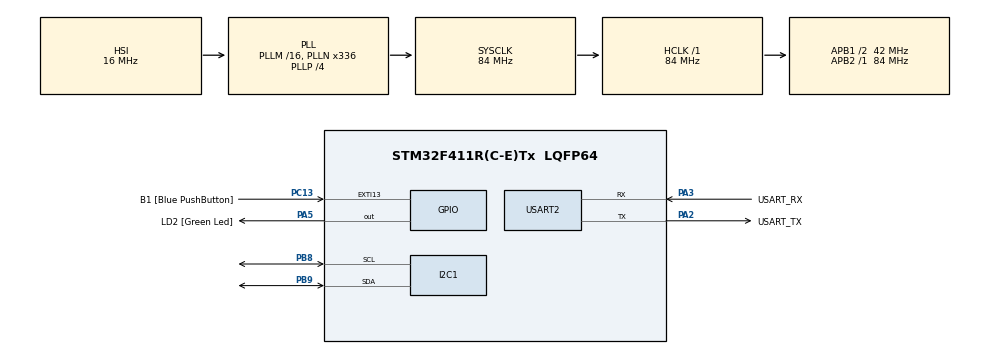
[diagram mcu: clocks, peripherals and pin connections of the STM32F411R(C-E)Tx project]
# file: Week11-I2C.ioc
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Mcu.Family=STM32F4
PC15-OSC32_OUT.Mode=LSE-External-Oscillator
RCC.CortexFreq_Value=84000000
NVIC.I2C1_EV_IRQn=true\:0\:0\:false\:false\:true\:true\:true
PC13-ANTI_TAMP.GPIO_Label=B1 [Blue PushButton]
PA14.GPIO_Label=TCK
PH1\ -\ OSC_OUT.Mode=HSE-External-Clock-Source
RCC.APB1CLKDivider=RCC_HCLK_DIV2
PC14-OSC32_IN.Signal=RCC_OSC32_IN
RCC.SYSCLKSource=RCC_SYSCLKSOURCE_PLLCLK
ProjectManager.StackSize=0x400
PA13.Signal=SYS_JTMS-SWDIO
PA3.Mode=Asynchronous
PH0\ -\ OSC_IN.Mode=HSE-External-Clock-Source
PH0\ -\ OSC_IN.Signal=RCC_OSC_IN
ProjectManager.TargetToolchain=STM32CubeIDE
I2C1.I2C_Mode=I2C_Fast
RCC.HCLKFreq_Value=84000000
PB9.Mode=I2C
RCC.APB2TimFreq_Value=84000000
PC15-OSC32_OUT.Signal=RCC_OSC32_OUT
RCC.AHBFreq_Value=84000000
NVIC.EXTI15_10_IRQn=true\:0\:0\:false\:false\:true\:true\:true
PA5.Signal=GPIO_Output
RCC.HSE_VALUE=8000000
PH1\ -\ OSC_OUT.Signal=RCC_OSC_OUT
board=NUCLEO-F411RE
PC13-ANTI_TAMP.Signal=GPXTI13
RCC.VCOOutputFreq_Value=336000000
RCC.APB2Freq_Value=84000000
PC14-OSC32_IN.Mode=LSE-External-Oscillator
PA14.Mode=Serial_Wire
PA13.Mode=Serial_Wire
NVIC.I2C1_ER_IRQn=true\:0\:0\:false\:false\:true\:true\:true
Mcu.Name=STM32F411R(C-E)Tx
PA2.Signal=USART2_TX
PA13.GPIO_Label=TMS
RCC.FLatency-AdvancedSettings=FLASH_LATENCY_2
RCC.48MHZClocksFreq_Value=84000000
PB3.Signal=SYS_JTDO-SWO
RCC.SYSCLKFreq_VALUE=84000000
Mcu.Package=LQFP64
PB9.Signal=I2C1_SDA
PA5.GPIO_Label=LD2 [Green Led]
USART2.VirtualMode=VM_ASYNC
PC13-ANTI_TAMP.GPIO_ModeDefaultEXTI=GPIO_MODE_IT_FALLING
PA2.GPIO_Label=USART_TX
PA14.Signal=SYS_JTCK-SWCLK
ProjectManager.HeapSize=0x200
RCC.HSI_VALUE=16000000
RCC.PLLP=RCC_PLLP_DIV4
NVIC.PriorityGroup=NVIC_PRIORITYGROUP_0
PB8.Mode=I2C
RCC.PLLN=336
RCC.APB1TimFreq_Value=84000000
PA2.Mode=Asynchronous
PB8.Signal=I2C1_SCL
RCC.APB1Freq_Value=42000000
PA3.GPIO_Label=USART_RX
PA3.Signal=USART2_RX
PB3.GPIO_Label=SWO

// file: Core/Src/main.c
/* USER CODE BEGIN Header */
/**
 ******************************************************************************
 * @file           : main.c
 * @brief          : Main program body
 ******************************************************************************
 * @attention
 *
 * <h2><center>&copy; Copyright (c) 2021 STMicroelectronics.
 * All rights reserved.</center></h2>
 *
 * This software component is licensed by ST under BSD 3-Clause license,
 * the "License"; You may not use this file except in compliance with the
 * License. You may obtain a copy of the License at:
 *                        opensource.org/licenses/BSD-3-Clause
 *
 ******************************************************************************
 */
/* USER CODE END Header */
#include "main.h"

/* USER CODE BEGIN PD */
#define EEPROM_ADDR 0b10100000
#define IOEXPD_ADDR 0b01000000
/* USER CODE END PD */

I2C_HandleTypeDef hi2c1;

UART_HandleTypeDef huart2;

/* USER CODE BEGIN PV */
uint8_t DataRead;
uint8_t Setting[0x16] = { 0xFF, 0x00, 0x00, 0x00, 0x00, 0x00, 0x00,
		0x00, 0x00, 0x00, 0x00, 0x00, 0xFF, 0x00, 0x00, 0x00, 0x00, 0x00,
		0x00, 0x00, 0x00, 0x00 };
int Button[2] = {0};
/* USER CODE END PV */

void SystemClock_Config(void);
static void MX_GPIO_Init(void);
static void MX_USART2_UART_Init(void);
static void MX_I2C1_Init(void);

int main(void)
{

  /* MCU Configuration--------------------------------------------------------*/

  /* Reset of all peripherals, Initializes the Flash interface and the Systick. */
  HAL_Init();

  /* Configure the system clock */
  SystemClock_Config();

  /* Initialize all configured peripherals */
  MX_GPIO_Init();
  MX_USART2_UART_Init();
  MX_I2C1_Init();
  /* USER CODE BEGIN 2 */
  HAL_Delay(100);
  HAL_I2C_Mem_Write(&hi2c1, IOEXPD_ADDR, 0x00, I2C_MEMADD_SIZE_8BIT, Setting, 0x16, 100);
  /* USER CODE END 2 */

  /* Infinite loop */
	while (1) {

    /* USER CODE BEGIN 3 */
		Button[0] = HAL_GPIO_ReadPin(GPIOC, GPIO_PIN_13);
		if(Button[0] == 0 && Button[1] == 1)
		{
			HAL_I2C_Mem_Read_IT(&hi2c1, IOEXPD_ADDR,0x12,I2C_MEMADD_SIZE_8BIT,&DataRead,1);
			HAL_Delay(100);
			HAL_I2C_Mem_Write_IT(&hi2c1, EEPROM_ADDR, 0x51, I2C_MEMADD_SIZE_16BIT,&DataRead, 1);
			HAL_Delay(100);
			HAL_I2C_Mem_Write_IT(&hi2c1, IOEXPD_ADDR,0x15,I2C_MEMADD_SIZE_8BIT,&DataRead,1);
			HAL_Delay(100);
		}
		Button[1] = Button[0];
	}
  /* USER CODE END 3 */
}

void SystemClock_Config(void)
{
  RCC_OscInitTypeDef RCC_OscInitStruct = {0};
  RCC_ClkInitTypeDef RCC_ClkInitStruct = {0};

  /** Configure the main internal regulator output voltage
  */
  __HAL_RCC_PWR_CLK_ENABLE();
  __HAL_PWR_VOLTAGESCALING_CONFIG(PWR_REGULATOR_VOLTAGE_SCALE1);
  /** Initializes the RCC Oscillators according to the specified parameters
  * in the RCC_OscInitTypeDef structure.
  */
  RCC_OscInitStruct.OscillatorType = RCC_OSCILLATORTYPE_HSI;
  RCC_OscInitStruct.HSIState = RCC_HSI_ON;
  RCC_OscInitStruct.HSICalibrationValue = RCC_HSICALIBRATION_DEFAULT;
  RCC_OscInitStruct.PLL.PLLState = RCC_PLL_ON;
  RCC_OscInitStruct.PLL.PLLSource = RCC_PLLSOURCE_HSI;
  RCC_OscInitStruct.PLL.PLLM = 16;
  RCC_OscInitStruct.PLL.PLLN = 336;
  RCC_OscInitStruct.PLL.PLLP = RCC_PLLP_DIV4;
  RCC_OscInitStruct.PLL.PLLQ = 4;
  if (HAL_RCC_OscConfig(&RCC_OscInitStruct) != HAL_OK)
  {
    Error_Handler();
  }
  /** Initializes the CPU, AHB and APB buses clocks
  */
  RCC_ClkInitStruct.ClockType = RCC_CLOCKTYPE_HCLK|RCC_CLOCKTYPE_SYSCLK
                              |RCC_CLOCKTYPE_PCLK1|RCC_CLOCKTYPE_PCLK2;
  RCC_ClkInitStruct.SYSCLKSource = RCC_SYSCLKSOURCE_PLLCLK;
  RCC_ClkInitStruct.AHBCLKDivider = RCC_SYSCLK_DIV1;
  RCC_ClkInitStruct.APB1CLKDivider = RCC_HCLK_DIV2;
  RCC_ClkInitStruct.APB2CLKDivider = RCC_HCLK_DIV1;

  if (HAL_RCC_ClockConfig(&RCC_ClkInitStruct, FLASH_LATENCY_2) != HAL_OK)
  {
    Error_Handler();
  }
}

static void MX_I2C1_Init(void)
{

  hi2c1.Instance = I2C1;
  hi2c1.Init.ClockSpeed = 400000;
  hi2c1.Init.DutyCycle = I2C_DUTYCYCLE_2;
  hi2c1.Init.OwnAddress1 = 0;
  hi2c1.Init.AddressingMode = I2C_ADDRESSINGMODE_7BIT;
  hi2c1.Init.DualAddressMode = I2C_DUALADDRESS_DISABLE;
  hi2c1.Init.OwnAddress2 = 0;
  hi2c1.Init.GeneralCallMode = I2C_GENERALCALL_DISABLE;
  hi2c1.Init.NoStretchMode = I2C_NOSTRETCH_DISABLE;
  if (HAL_I2C_Init(&hi2c1) != HAL_OK)
  {
    Error_Handler();
  }

}

static void MX_USART2_UART_Init(void)
{

  huart2.Instance = USART2;
  huart2.Init.BaudRate = 115200;
  huart2.Init.WordLength = UART_WORDLENGTH_8B;
  huart2.Init.StopBits = UART_STOPBITS_1;
  huart2.Init.Parity = UART_PARITY_NONE;
  huart2.Init.Mode = UART_MODE_TX_RX;
  huart2.Init.HwFlowCtl = UART_HWCONTROL_NONE;
  huart2.Init.OverSampling = UART_OVERSAMPLING_16;
  if (HAL_UART_Init(&huart2) != HAL_OK)
  {
    Error_Handler();
  }

}

static void MX_GPIO_Init(void)
{
  GPIO_InitTypeDef GPIO_InitStruct = {0};

  /* GPIO Ports Clock Enable */
  __HAL_RCC_GPIOC_CLK_ENABLE();
  __HAL_RCC_GPIOH_CLK_ENABLE();
  __HAL_RCC_GPIOA_CLK_ENABLE();
  __HAL_RCC_GPIOB_CLK_ENABLE();

  /*Configure GPIO pin Output Level */
  HAL_GPIO_WritePin(LD2_GPIO_Port, LD2_Pin, GPIO_PIN_RESET);

  /*Configure GPIO pin : B1_Pin */
  GPIO_InitStruct.Pin = B1_Pin;
  GPIO_InitStruct.Mode = GPIO_MODE_IT_FALLING;
  GPIO_InitStruct.Pull = GPIO_NOPULL;
  HAL_GPIO_Init(B1_GPIO_Port, &GPIO_InitStruct);

  /*Configure GPIO pin : LD2_Pin */
  GPIO_InitStruct.Pin = LD2_Pin;
  GPIO_InitStruct.Mode = GPIO_MODE_OUTPUT_PP;
  GPIO_InitStruct.Pull = GPIO_NOPULL;
  GPIO_InitStruct.Speed = GPIO_SPEED_FREQ_LOW;
  HAL_GPIO_Init(LD2_GPIO_Port, &GPIO_InitStruct);

  /* EXTI interrupt init*/
  HAL_NVIC_SetPriority(EXTI15_10_IRQn, 0, 0);
  HAL_NVIC_EnableIRQ(EXTI15_10_IRQn);

}

void Error_Handler(void)
{
	__disable_irq();
	while (1) {
	}
}

/************************ (C) COPYRIGHT STMicroelectronics *****END OF FILE****/
